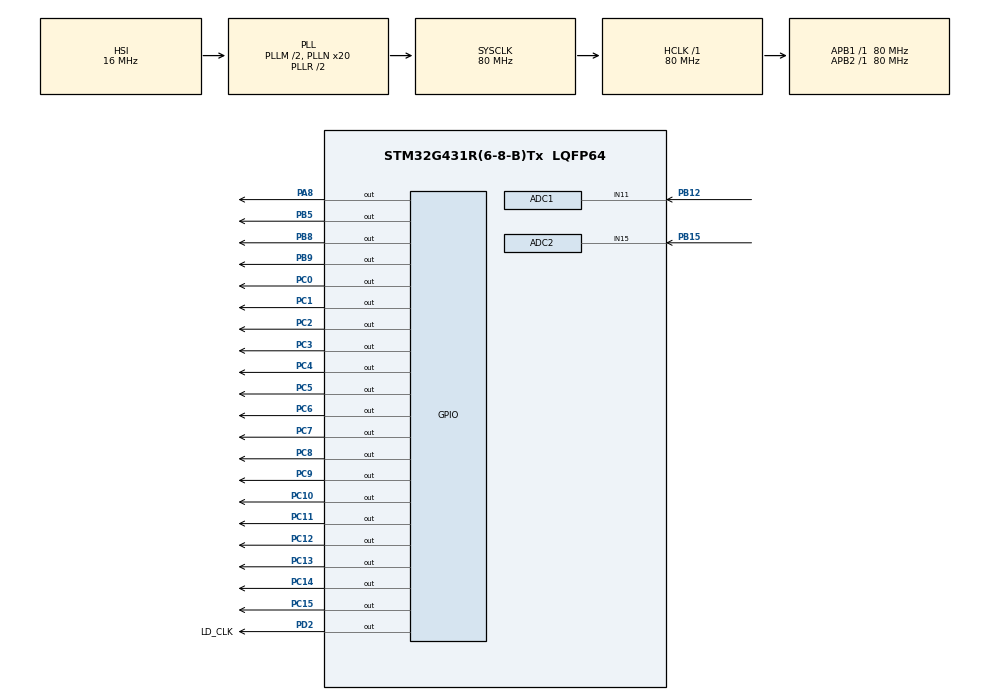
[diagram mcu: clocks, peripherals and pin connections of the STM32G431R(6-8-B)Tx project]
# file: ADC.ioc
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ADC1.Channel-0\#ChannelRegularConversion=ADC_CHANNEL_11
ADC1.NbrOfConversionFlag=1
ADC1.OffsetNumber-0\#ChannelRegularConversion=ADC_OFFSET_NONE
ADC1.Rank-0\#ChannelRegularConversion=1
ADC1.SamplingTime-0\#ChannelRegularConversion=ADC_SAMPLETIME_2CYCLES_5
ADC1.master=1
ADC2.Channel-0\#ChannelRegularConversion=ADC_CHANNEL_15
ADC2.NbrOfConversionFlag=1
ADC2.OffsetNumber-0\#ChannelRegularConversion=ADC_OFFSET_NONE
ADC2.Rank-0\#ChannelRegularConversion=1
ADC2.SamplingTime-0\#ChannelRegularConversion=ADC_SAMPLETIME_2CYCLES_5
Dma.ADC1.0.Direction=DMA_PERIPH_TO_MEMORY
Dma.ADC1.0.EventEnable=DISABLE
Dma.ADC1.0.Instance=DMA1_Channel1
Dma.ADC1.0.MemDataAlignment=DMA_MDATAALIGN_WORD
Dma.ADC1.0.MemInc=DMA_MINC_ENABLE
Dma.ADC1.0.Mode=DMA_CIRCULAR
Dma.ADC1.0.PeriphDataAlignment=DMA_PDATAALIGN_WORD
Dma.ADC1.0.PeriphInc=DMA_PINC_DISABLE
Dma.ADC1.0.Polarity=HAL_DMAMUX_REQ_GEN_RISING
Dma.ADC1.0.Priority=DMA_PRIORITY_LOW
Dma.ADC1.0.RequestNumber=1
Dma.ADC1.0.SignalID=NONE
Dma.ADC1.0.SyncEnable=DISABLE
Dma.ADC1.0.SyncPolarity=HAL_DMAMUX_SYNC_NO_EVENT
Dma.ADC1.0.SyncRequestNumber=1
Dma.ADC1.0.SyncSignalID=NONE
Dma.ADC2.1.Direction=DMA_PERIPH_TO_MEMORY
Dma.ADC2.1.EventEnable=DISABLE
Dma.ADC2.1.Instance=DMA1_Channel2
Dma.ADC2.1.MemDataAlignment=DMA_MDATAALIGN_WORD
Dma.ADC2.1.MemInc=DMA_MINC_ENABLE
Dma.ADC2.1.Mode=DMA_CIRCULAR
Dma.ADC2.1.PeriphDataAlignment=DMA_PDATAALIGN_WORD
Dma.ADC2.1.PeriphInc=DMA_PINC_DISABLE
Dma.ADC2.1.Polarity=HAL_DMAMUX_REQ_GEN_RISING
Dma.ADC2.1.Priority=DMA_PRIORITY_LOW
Dma.ADC2.1.RequestNumber=1
Dma.ADC2.1.SignalID=NONE
Dma.ADC2.1.SyncEnable=DISABLE
Dma.ADC2.1.SyncPolarity=HAL_DMAMUX_SYNC_NO_EVENT
Dma.ADC2.1.SyncRequestNumber=1
Dma.ADC2.1.SyncSignalID=NONE
Dma.Request0=ADC1
Dma.Request1=ADC2
Mcu.Family=STM32G4
Mcu.Name=STM32G431R(6-8-B)Tx
Mcu.Package=LQFP64
NVIC.DMA1_Channel1_IRQn=true\:0\:0\:false\:false\:true\:false\:true
NVIC.DMA1_Channel2_IRQn=true\:0\:0\:false\:false\:true\:false\:true
NVIC.PriorityGroup=NVIC_PRIORITYGROUP_4
NVIC.TIM4_IRQn=true\:0\:0\:false\:false\:true\:true\:true
PA8.Signal=GPIO_Output
PB12.Mode=IN11-Single-Ended
PB12.Signal=ADC1_IN11
PB15.Mode=IN15-Single-Ended
PB15.Signal=ADC2_IN15
PB5.Signal=GPIO_Output
PB8-BOOT0.Signal=GPIO_Output
PB9.Signal=GPIO_Output
PC0.Signal=GPIO_Output
PC1.Signal=GPIO_Output
PC10.Signal=GPIO_Output
PC11.Signal=GPIO_Output
PC12.Signal=GPIO_Output
PC13.Signal=GPIO_Output
PC14-OSC32_IN.Signal=GPIO_Output
PC15-OSC32_OUT.Signal=GPIO_Output
PC2.Signal=GPIO_Output
PC3.Signal=GPIO_Output
PC4.Signal=GPIO_Output
PC5.Signal=GPIO_Output
PC6.Signal=GPIO_Output
PC7.Signal=GPIO_Output
PC8.Signal=GPIO_Output
PC9.Signal=GPIO_Output
PD2.GPIO_Label=LD_CLK
PD2.Signal=GPIO_Output
PF0-OSC_IN.Mode=HSE-External-Oscillator
PF0-OSC_IN.Signal=RCC_OSC_IN
PF1-OSC_OUT.Mode=HSE-External-Oscillator
PF1-OSC_OUT.Signal=RCC_OSC_OUT
ProjectManager.HeapSize=0x200
ProjectManager.StackSize=0x400
ProjectManager.TargetToolchain=MDK-ARM V5.27
RCC.ADC12Freq_Value=80000000
RCC.AHBFreq_Value=80000000
RCC.APB1Freq_Value=80000000
RCC.APB1TimFreq_Value=80000000
RCC.APB2Freq_Value=80000000
RCC.APB2TimFreq_Value=80000000
RCC.CortexFreq_Value=80000000
RCC.EXTERNAL_CLOCK_VALUE=12288000
RCC.HCLKFreq_Value=80000000
RCC.HSE_VALUE=24000000
RCC.HSI48_VALUE=48000000
RCC.HSI_VALUE=16000000
RCC.LSE_VALUE=32768
RCC.PLLM=RCC_PLLM_DIV2
RCC.PLLN=20
RCC.SYSCLKFreq_VALUE=80000000
RCC.SYSCLKSource=RCC_SYSCLKSOURCE_PLLCLK
RCC.USBFreq_Value=80000000
RCC.VCOOutputFreq_Value=160000000
TIM4.PeriodNoDither=1000-1
TIM4.Prescaler=80-1
VP_SYS_VS_DBSignals.Mode=DisableDeadBatterySignals
VP_TIM4_VS_ClockSourceINT.Mode=Internal
board=custom

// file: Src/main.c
/* USER CODE BEGIN Header */
/**
  ******************************************************************************
  * @file           : main.c
  * @brief          : Main program body
  ******************************************************************************
  * @attention
  *
  * <h2><center>&copy; Copyright (c) 2021 STMicroelectronics.
  * All rights reserved.</center></h2>
  *
  * This software component is licensed by ST under BSD 3-Clause license,
  * the "License"; You may not use this file except in compliance with the
  * License. You may obtain a copy of the License at:
  *                        opensource.org/licenses/BSD-3-Clause
  *
  ******************************************************************************
  */
/* USER CODE END Header */
#include "main.h"
#include <stdio.h>
/* USER CODE BEGIN Includes */
#include "lcd.h"
/* USER CODE END Includes */

ADC_HandleTypeDef hadc1;
ADC_HandleTypeDef hadc2;
DMA_HandleTypeDef hdma_adc1;
DMA_HandleTypeDef hdma_adc2;

TIM_HandleTypeDef htim4;

/* USER CODE BEGIN PV */
_Bool Adc_Flag = 0;
_Bool Adc_Flag1 = 0;
_Bool Adc_Flag2 = 0;
uint32_t Adc_buf1[10];
uint32_t Adc_buf2[10];

float Adc_Val1 = 0.0f;
float Adc_Val2 = 0.0f;
/* USER CODE END PV */

void SystemClock_Config(void);
static void MX_GPIO_Init(void);
static void MX_DMA_Init(void);
static void MX_ADC1_Init(void);
static void MX_ADC2_Init(void);
static void MX_TIM4_Init(void);

/* USER CODE BEGIN 0 */
float Adc_Proc(uint32_t _buf[])
{
	uint8_t i, j;
	float Adc_Val = 0;
	float temp;
	for(i = 0; i < 10 - 1; i++)
	{
		for(j = 0; j < 10 - 1 - i; j++)
		{
			if (_buf[j] < _buf[j+1])
			{
					temp = _buf[j];
					_buf[j] = _buf[j+1];
					_buf[j+1] = temp;
			}
		}
	}

	for(i = 1; i < 10-1; i++)
    	Adc_Val += _buf[i];
	return (Adc_Val / 8) / 4096 * 3.3f;
}
void Display_Proc()
{
	uint8_t buf[30];
	sprintf((char *)buf, "ADC1 : %.2f", Adc_Val1);
	LCD_DisplayStringLine(Line1, buf);
	sprintf((char *)buf, "ADC2 : %.2f", Adc_Val2);
	LCD_DisplayStringLine(Line3, buf);
}
/* USER CODE END 0 */

int main(void)
{

  /* MCU Configuration--------------------------------------------------------*/

  /* Reset of all peripherals, Initializes the Flash interface and the Systick. */
  HAL_Init();

  /* Configure the system clock */
  SystemClock_Config();

  /* Initialize all configured peripherals */
  MX_GPIO_Init();
  MX_DMA_Init();
  MX_ADC1_Init();
  MX_ADC2_Init();
  MX_TIM4_Init();
  /* USER CODE BEGIN 2 */
	LCD_Init();
	LCD_Clear(White);
	LCD_SetBackColor(White);
	LCD_SetTextColor(Black);
	//ADC校准
	HAL_ADCEx_Calibration_Start(&hadc1, ADC_SINGLE_ENDED);
	HAL_ADCEx_Calibration_Start(&hadc2, ADC_SINGLE_ENDED);
	//启动ADC转换DMA方式
	HAL_ADC_Start_DMA(&hadc1, (uint32_t *)Adc_buf1, 10);
	HAL_ADC_Start_DMA(&hadc2, (uint32_t *)Adc_buf2, 10);
	//启动定时器
	HAL_TIM_Base_Start_IT(&htim4);
  /* USER CODE END 2 */

  /* Infinite loop */
  /* USER CODE BEGIN WHILE */
  while (1)
  {
		Display_Proc();
    /* USER CODE END WHILE */

    /* USER CODE BEGIN 3 */
		if(Adc_Flag)
		{
			Adc_Flag = 0;
			HAL_ADC_Start_DMA(&hadc1, Adc_buf1, 10);
			HAL_ADC_Start_DMA(&hadc2, Adc_buf2, 10);
		}
		if(Adc_Flag1)
		{
			Adc_Flag1 = 0;
			Adc_Val1 = Adc_Proc(Adc_buf1);

		}
		if(Adc_Flag2)
		{
			Adc_Flag2 = 0;
			Adc_Val2 = Adc_Proc(Adc_buf2);

		}
  }
  /* USER CODE END 3 */
}

void SystemClock_Config(void)
{
  RCC_OscInitTypeDef RCC_OscInitStruct = {0};
  RCC_ClkInitTypeDef RCC_ClkInitStruct = {0};
  RCC_PeriphCLKInitTypeDef PeriphClkInit = {0};

  /** Configure the main internal regulator output voltage
  */
  HAL_PWREx_ControlVoltageScaling(PWR_REGULATOR_VOLTAGE_SCALE1);
  /** Initializes the RCC Oscillators according to the specified parameters
  * in the RCC_OscInitTypeDef structure.
  */
  RCC_OscInitStruct.OscillatorType = RCC_OSCILLATORTYPE_HSI;
  RCC_OscInitStruct.HSIState = RCC_HSI_ON;
  RCC_OscInitStruct.HSICalibrationValue = RCC_HSICALIBRATION_DEFAULT;
  RCC_OscInitStruct.PLL.PLLState = RCC_PLL_ON;
  RCC_OscInitStruct.PLL.PLLSource = RCC_PLLSOURCE_HSI;
  RCC_OscInitStruct.PLL.PLLM = RCC_PLLM_DIV2;
  RCC_OscInitStruct.PLL.PLLN = 20;
  RCC_OscInitStruct.PLL.PLLP = RCC_PLLP_DIV2;
  RCC_OscInitStruct.PLL.PLLQ = RCC_PLLQ_DIV2;
  RCC_OscInitStruct.PLL.PLLR = RCC_PLLR_DIV2;
  if (HAL_RCC_OscConfig(&RCC_OscInitStruct) != HAL_OK)
  {
    Error_Handler();
  }
  /** Initializes the CPU, AHB and APB buses clocks
  */
  RCC_ClkInitStruct.ClockType = RCC_CLOCKTYPE_HCLK|RCC_CLOCKTYPE_SYSCLK
                              |RCC_CLOCKTYPE_PCLK1|RCC_CLOCKTYPE_PCLK2;
  RCC_ClkInitStruct.SYSCLKSource = RCC_SYSCLKSOURCE_PLLCLK;
  RCC_ClkInitStruct.AHBCLKDivider = RCC_SYSCLK_DIV1;
  RCC_ClkInitStruct.APB1CLKDivider = RCC_HCLK_DIV1;
  RCC_ClkInitStruct.APB2CLKDivider = RCC_HCLK_DIV1;

  if (HAL_RCC_ClockConfig(&RCC_ClkInitStruct, FLASH_LATENCY_2) != HAL_OK)
  {
    Error_Handler();
  }
  /** Initializes the peripherals clocks
  */
  PeriphClkInit.PeriphClockSelection = RCC_PERIPHCLK_ADC12;
  PeriphClkInit.Adc12ClockSelection = RCC_ADC12CLKSOURCE_SYSCLK;
  if (HAL_RCCEx_PeriphCLKConfig(&PeriphClkInit) != HAL_OK)
  {
    Error_Handler();
  }
}

static void MX_ADC1_Init(void)
{

  ADC_MultiModeTypeDef multimode = {0};
  ADC_ChannelConfTypeDef sConfig = {0};

  /** Common config
  */
  hadc1.Instance = ADC1;
  hadc1.Init.ClockPrescaler = ADC_CLOCK_SYNC_PCLK_DIV2;
  hadc1.Init.Resolution = ADC_RESOLUTION_12B;
  hadc1.Init.DataAlign = ADC_DATAALIGN_RIGHT;
  hadc1.Init.GainCompensation = 0;
  hadc1.Init.ScanConvMode = ADC_SCAN_DISABLE;
  hadc1.Init.EOCSelection = ADC_EOC_SINGLE_CONV;
  hadc1.Init.LowPowerAutoWait = DISABLE;
  hadc1.Init.ContinuousConvMode = DISABLE;
  hadc1.Init.NbrOfConversion = 1;
  hadc1.Init.DiscontinuousConvMode = DISABLE;
  hadc1.Init.ExternalTrigConv = ADC_SOFTWARE_START;
  hadc1.Init.ExternalTrigConvEdge = ADC_EXTERNALTRIGCONVEDGE_NONE;
  hadc1.Init.DMAContinuousRequests = DISABLE;
  hadc1.Init.Overrun = ADC_OVR_DATA_PRESERVED;
  hadc1.Init.OversamplingMode = DISABLE;
  if (HAL_ADC_Init(&hadc1) != HAL_OK)
  {
    Error_Handler();
  }
  /** Configure the ADC multi-mode
  */
  multimode.Mode = ADC_MODE_INDEPENDENT;
  if (HAL_ADCEx_MultiModeConfigChannel(&hadc1, &multimode) != HAL_OK)
  {
    Error_Handler();
  }
  /** Configure Regular Channel
  */
  sConfig.Channel = ADC_CHANNEL_11;
  sConfig.Rank = ADC_REGULAR_RANK_1;
  sConfig.SamplingTime = ADC_SAMPLETIME_2CYCLES_5;
  sConfig.SingleDiff = ADC_SINGLE_ENDED;
  sConfig.OffsetNumber = ADC_OFFSET_NONE;
  sConfig.Offset = 0;
  if (HAL_ADC_ConfigChannel(&hadc1, &sConfig) != HAL_OK)
  {
    Error_Handler();
  }

}

static void MX_ADC2_Init(void)
{

  ADC_ChannelConfTypeDef sConfig = {0};

  /** Common config
  */
  hadc2.Instance = ADC2;
  hadc2.Init.ClockPrescaler = ADC_CLOCK_SYNC_PCLK_DIV2;
  hadc2.Init.Resolution = ADC_RESOLUTION_12B;
  hadc2.Init.DataAlign = ADC_DATAALIGN_RIGHT;
  hadc2.Init.GainCompensation = 0;
  hadc2.Init.ScanConvMode = ADC_SCAN_DISABLE;
  hadc2.Init.EOCSelection = ADC_EOC_SINGLE_CONV;
  hadc2.Init.LowPowerAutoWait = DISABLE;
  hadc2.Init.ContinuousConvMode = DISABLE;
  hadc2.Init.NbrOfConversion = 1;
  hadc2.Init.DiscontinuousConvMode = DISABLE;
  hadc2.Init.ExternalTrigConv = ADC_SOFTWARE_START;
  hadc2.Init.ExternalTrigConvEdge = ADC_EXTERNALTRIGCONVEDGE_NONE;
  hadc2.Init.DMAContinuousRequests = DISABLE;
  hadc2.Init.Overrun = ADC_OVR_DATA_PRESERVED;
  hadc2.Init.OversamplingMode = DISABLE;
  if (HAL_ADC_Init(&hadc2) != HAL_OK)
  {
    Error_Handler();
  }
  /** Configure Regular Channel
  */
  sConfig.Channel = ADC_CHANNEL_15;
  sConfig.Rank = ADC_REGULAR_RANK_1;
  sConfig.SamplingTime = ADC_SAMPLETIME_2CYCLES_5;
  sConfig.SingleDiff = ADC_SINGLE_ENDED;
  sConfig.OffsetNumber = ADC_OFFSET_NONE;
  sConfig.Offset = 0;
  if (HAL_ADC_ConfigChannel(&hadc2, &sConfig) != HAL_OK)
  {
    Error_Handler();
  }

}

static void MX_TIM4_Init(void)
{

  TIM_ClockConfigTypeDef sClockSourceConfig = {0};
  TIM_MasterConfigTypeDef sMasterConfig = {0};

  htim4.Instance = TIM4;
  htim4.Init.Prescaler = 80-1;
  htim4.Init.CounterMode = TIM_COUNTERMODE_UP;
  htim4.Init.Period = 999;
  htim4.Init.ClockDivision = TIM_CLOCKDIVISION_DIV1;
  htim4.Init.AutoReloadPreload = TIM_AUTORELOAD_PRELOAD_DISABLE;
  if (HAL_TIM_Base_Init(&htim4) != HAL_OK)
  {
    Error_Handler();
  }
  sClockSourceConfig.ClockSource = TIM_CLOCKSOURCE_INTERNAL;
  if (HAL_TIM_ConfigClockSource(&htim4, &sClockSourceConfig) != HAL_OK)
  {
    Error_Handler();
  }
  sMasterConfig.MasterOutputTrigger = TIM_TRGO_RESET;
  sMasterConfig.MasterSlaveMode = TIM_MASTERSLAVEMODE_DISABLE;
  if (HAL_TIMEx_MasterConfigSynchronization(&htim4, &sMasterConfig) != HAL_OK)
  {
    Error_Handler();
  }

}

static void MX_DMA_Init(void)
{

  /* DMA controller clock enable */
  __HAL_RCC_DMAMUX1_CLK_ENABLE();
  __HAL_RCC_DMA1_CLK_ENABLE();

  /* DMA interrupt init */
  /* DMA1_Channel1_IRQn interrupt configuration */
  HAL_NVIC_SetPriority(DMA1_Channel1_IRQn, 0, 0);
  HAL_NVIC_EnableIRQ(DMA1_Channel1_IRQn);
  /* DMA1_Channel2_IRQn interrupt configuration */
  HAL_NVIC_SetPriority(DMA1_Channel2_IRQn, 0, 0);
  HAL_NVIC_EnableIRQ(DMA1_Channel2_IRQn);

}

static void MX_GPIO_Init(void)
{
  GPIO_InitTypeDef GPIO_InitStruct = {0};

  /* GPIO Ports Clock Enable */
  __HAL_RCC_GPIOC_CLK_ENABLE();
  __HAL_RCC_GPIOF_CLK_ENABLE();
  __HAL_RCC_GPIOB_CLK_ENABLE();
  __HAL_RCC_GPIOA_CLK_ENABLE();
  __HAL_RCC_GPIOD_CLK_ENABLE();

  /*Configure GPIO pin Output Level */
  HAL_GPIO_WritePin(GPIOC, GPIO_PIN_13|GPIO_PIN_14|GPIO_PIN_15|GPIO_PIN_0
                          |GPIO_PIN_1|GPIO_PIN_2|GPIO_PIN_3|GPIO_PIN_4
                          |GPIO_PIN_5|GPIO_PIN_6|GPIO_PIN_7|GPIO_PIN_8
                          |GPIO_PIN_9|GPIO_PIN_10|GPIO_PIN_11|GPIO_PIN_12, GPIO_PIN_RESET);

  /*Configure GPIO pin Output Level */
  HAL_GPIO_WritePin(GPIOA, GPIO_PIN_8, GPIO_PIN_RESET);

  /*Configure GPIO pin Output Level */
  HAL_GPIO_WritePin(LD_CLK_GPIO_Port, LD_CLK_Pin, GPIO_PIN_RESET);

  /*Configure GPIO pin Output Level */
  HAL_GPIO_WritePin(GPIOB, GPIO_PIN_5|GPIO_PIN_8|GPIO_PIN_9, GPIO_PIN_RESET);

  /*Configure GPIO pins : PC13 PC14 PC15 PC0
                           PC1 PC2 PC3 PC4
                           PC5 PC6 PC7 PC8
                           PC9 PC10 PC11 PC12 */
  GPIO_InitStruct.Pin = GPIO_PIN_13|GPIO_PIN_14|GPIO_PIN_15|GPIO_PIN_0
                          |GPIO_PIN_1|GPIO_PIN_2|GPIO_PIN_3|GPIO_PIN_4
                          |GPIO_PIN_5|GPIO_PIN_6|GPIO_PIN_7|GPIO_PIN_8
                          |GPIO_PIN_9|GPIO_PIN_10|GPIO_PIN_11|GPIO_PIN_12;
  GPIO_InitStruct.Mode = GPIO_MODE_OUTPUT_PP;
  GPIO_InitStruct.Pull = GPIO_NOPULL;
  GPIO_InitStruct.Speed = GPIO_SPEED_FREQ_LOW;
  HAL_GPIO_Init(GPIOC, &GPIO_InitStruct);

  /*Configure GPIO pin : PA8 */
  GPIO_InitStruct.Pin = GPIO_PIN_8;
  GPIO_InitStruct.Mode = GPIO_MODE_OUTPUT_PP;
  GPIO_InitStruct.Pull = GPIO_NOPULL;
  GPIO_InitStruct.Speed = GPIO_SPEED_FREQ_LOW;
  HAL_GPIO_Init(GPIOA, &GPIO_InitStruct);

  /*Configure GPIO pin : LD_CLK_Pin */
  GPIO_InitStruct.Pin = LD_CLK_Pin;
  GPIO_InitStruct.Mode = GPIO_MODE_OUTPUT_PP;
  GPIO_InitStruct.Pull = GPIO_NOPULL;
  GPIO_InitStruct.Speed = GPIO_SPEED_FREQ_LOW;
  HAL_GPIO_Init(LD_CLK_GPIO_Port, &GPIO_InitStruct);

  /*Configure GPIO pins : PB5 PB8 PB9 */
  GPIO_InitStruct.Pin = GPIO_PIN_5|GPIO_PIN_8|GPIO_PIN_9;
  GPIO_InitStruct.Mode = GPIO_MODE_OUTPUT_PP;
  GPIO_InitStruct.Pull = GPIO_NOPULL;
  GPIO_InitStruct.Speed = GPIO_SPEED_FREQ_LOW;
  HAL_GPIO_Init(GPIOB, &GPIO_InitStruct);

}

/* USER CODE BEGIN 4 */
void HAL_TIM_PeriodElapsedCallback(TIM_HandleTypeDef *htim)
{
	HAL_TIM_Base_Start_IT(&htim4);
	static uint8_t adc_count;
	if(htim->Instance == TIM4)
	{
		if(++adc_count == 100)
		{
			adc_count = 0;
			Adc_Flag = 1;
		}
	}

}
void HAL_ADC_ConvCpltCallback(ADC_HandleTypeDef *hadc)
{
	if(hadc == &hadc1)
	{
		Adc_Flag1 = 1;
	}
	if(hadc == &hadc2)
	{
		Adc_Flag2 = 1;
	}
}
/* USER CODE END 4 */

void Error_Handler(void)
{
  __disable_irq();
  while (1)
  {
  }
}

/************************ (C) COPYRIGHT STMicroelectronics *****END OF FILE****/
